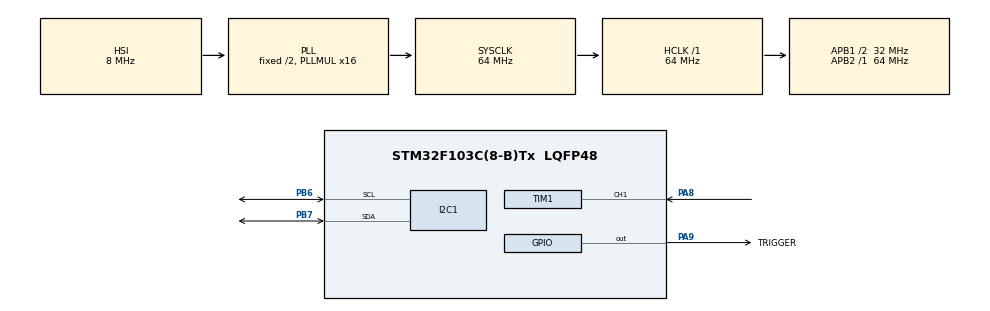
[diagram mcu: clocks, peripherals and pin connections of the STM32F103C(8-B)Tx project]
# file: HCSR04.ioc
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Mcu.Family=STM32F1
Mcu.Name=STM32F103C(8-B)Tx
Mcu.Package=LQFP48
NVIC.PriorityGroup=NVIC_PRIORITYGROUP_4
NVIC.TIM1_CC_IRQn=true\:0\:0\:false\:false\:true\:true\:true\:true
PA13.Mode=Serial_Wire
PA13.Signal=SYS_JTMS-SWDIO
PA14.Mode=Serial_Wire
PA14.Signal=SYS_JTCK-SWCLK
PA8.Signal=S_TIM1_CH1
PA9.GPIO_Label=TRIGGER
PA9.Signal=GPIO_Output
PB6.Mode=I2C
PB6.Signal=I2C1_SCL
PB7.Mode=I2C
PB7.Signal=I2C1_SDA
ProjectManager.HeapSize=0x200
ProjectManager.StackSize=0x400
ProjectManager.TargetToolchain=MDK-ARM V5.32
RCC.AHBFreq_Value=64000000
RCC.APB1CLKDivider=RCC_HCLK_DIV2
RCC.APB1Freq_Value=32000000
RCC.APB1TimFreq_Value=64000000
RCC.APB2Freq_Value=64000000
RCC.APB2TimFreq_Value=64000000
RCC.HCLKFreq_Value=64000000
RCC.PLLMUL=RCC_PLL_MUL16
RCC.SYSCLKFreq_VALUE=64000000
RCC.SYSCLKSource=RCC_SYSCLKSOURCE_PLLCLK
RCC.USBFreq_Value=64000000
SH.S_TIM1_CH1.0=TIM1_CH1,Input_Capture1_from_TI1
TIM1.Channel-Input_Capture1_from_TI1=TIM_CHANNEL_1
TIM1.Prescaler=63
VP_TIM1_VS_ClockSourceINT.Mode=Internal
board=custom

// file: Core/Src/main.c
/* USER CODE BEGIN Header */
/**
  ******************************************************************************
  * @file           : main.c
  * @brief          : Main program body
  ******************************************************************************
  * @attention
  *
  * Copyright (c) 2022 STMicroelectronics.
  * All rights reserved.
  *
  * This software is licensed under terms that can be found in the LICENSE file
  * in the root directory of this software component.
  * If no LICENSE file comes with this software, it is provided AS-IS.
  *
  ******************************************************************************
  */
/* USER CODE END Header */
#include "main.h"

/* USER CODE BEGIN Includes */
#include "i2c-lcd.h"
/* USER CODE END Includes */

 I2C_HandleTypeDef hi2c1;

TIM_HandleTypeDef htim1;

void SystemClock_Config(void);
static void MX_GPIO_Init(void);
static void MX_TIM1_Init(void);
static void MX_I2C1_Init(void);

/* USER CODE BEGIN 0 */
uint32_t IC_val1 = 0;
uint32_t IC_val2 = 0;
uint32_t diff = 0;
uint8_t distance = 0;
uint8_t is_first_cap = 0;

void delay_us(uint16_t time)
{
	__HAL_TIM_SET_COUNTER(&htim1, 0);
	while(__HAL_TIM_GET_COUNTER(&htim1) < time);
}

void HCSR04_trig()
	{
		HAL_GPIO_WritePin(TRIGGER_GPIO_Port,TRIGGER_Pin,GPIO_PIN_SET);
		delay_us(10);
		HAL_GPIO_WritePin(TRIGGER_GPIO_Port,TRIGGER_Pin,GPIO_PIN_RESET);
		__HAL_TIM_ENABLE_IT(&htim1,TIM_IT_CC1);
	}

void HAL_TIM_IC_CaptureCallback(TIM_HandleTypeDef *htim)
{
	if(htim -> Channel == HAL_TIM_ACTIVE_CHANNEL_1)
	{
		if(is_first_cap == 0)
		{
			IC_val1 = HAL_TIM_ReadCapturedValue(htim, TIM_CHANNEL_1);
			is_first_cap = 1;
		  __HAL_TIM_SET_CAPTUREPOLARITY(htim, TIM_CHANNEL_1, TIM_INPUTCHANNELPOLARITY_FALLING);
		}
		else if(is_first_cap == 1)
		{
			IC_val2 = HAL_TIM_ReadCapturedValue(htim,TIM_CHANNEL_1);
			__HAL_TIM_SET_COUNTER(htim, 0);
			if(IC_val2 > IC_val1)
			{
				diff = IC_val2 - IC_val1;
			}
			else if(IC_val2 < IC_val1)
			{
				diff = (0xffff + IC_val2) + IC_val1;
			}
			distance = 0.017*diff;
			is_first_cap = 0;
			__HAL_TIM_SET_CAPTUREPOLARITY(htim, TIM_CHANNEL_1, TIM_INPUTCHANNELPOLARITY_RISING);
			__HAL_TIM_DISABLE_IT(&htim1, TIM_IT_CC1);
		}
	}
}
/* USER CODE END 0 */

int main(void)
{

  /* MCU Configuration--------------------------------------------------------*/

  /* Reset of all peripherals, Initializes the Flash interface and the Systick. */
  HAL_Init();

  /* Configure the system clock */
  SystemClock_Config();

  /* Initialize all configured peripherals */
  MX_GPIO_Init();
  MX_TIM1_Init();
  MX_I2C1_Init();
  /* USER CODE BEGIN 2 */
	HAL_TIM_IC_Start_IT(&htim1, TIM_CHANNEL_1);
	lcd_init();
  /* USER CODE END 2 */

  /* Infinite loop */
  while (1)
  {
		HCSR04_trig();
		lcd_put_cur(0,0);
		lcd_send_string("Dist =  ");
		lcd_put_cur(0,7);
		lcd_send_data((distance/10) + 48);
		lcd_send_data((distance%10) +48);
		lcd_send_string("cm");
		HAL_Delay(200);
  }
}

void SystemClock_Config(void)
{
  RCC_OscInitTypeDef RCC_OscInitStruct = {0};
  RCC_ClkInitTypeDef RCC_ClkInitStruct = {0};

  /** Initializes the RCC Oscillators according to the specified parameters
  * in the RCC_OscInitTypeDef structure.
  */
  RCC_OscInitStruct.OscillatorType = RCC_OSCILLATORTYPE_HSI;
  RCC_OscInitStruct.HSIState = RCC_HSI_ON;
  RCC_OscInitStruct.HSICalibrationValue = RCC_HSICALIBRATION_DEFAULT;
  RCC_OscInitStruct.PLL.PLLState = RCC_PLL_ON;
  RCC_OscInitStruct.PLL.PLLSource = RCC_PLLSOURCE_HSI_DIV2;
  RCC_OscInitStruct.PLL.PLLMUL = RCC_PLL_MUL16;
  if (HAL_RCC_OscConfig(&RCC_OscInitStruct) != HAL_OK)
  {
    Error_Handler();
  }

  /** Initializes the CPU, AHB and APB buses clocks
  */
  RCC_ClkInitStruct.ClockType = RCC_CLOCKTYPE_HCLK|RCC_CLOCKTYPE_SYSCLK
                              |RCC_CLOCKTYPE_PCLK1|RCC_CLOCKTYPE_PCLK2;
  RCC_ClkInitStruct.SYSCLKSource = RCC_SYSCLKSOURCE_PLLCLK;
  RCC_ClkInitStruct.AHBCLKDivider = RCC_SYSCLK_DIV1;
  RCC_ClkInitStruct.APB1CLKDivider = RCC_HCLK_DIV2;
  RCC_ClkInitStruct.APB2CLKDivider = RCC_HCLK_DIV1;

  if (HAL_RCC_ClockConfig(&RCC_ClkInitStruct, FLASH_LATENCY_2) != HAL_OK)
  {
    Error_Handler();
  }
}

static void MX_I2C1_Init(void)
{

  hi2c1.Instance = I2C1;
  hi2c1.Init.ClockSpeed = 100000;
  hi2c1.Init.DutyCycle = I2C_DUTYCYCLE_2;
  hi2c1.Init.OwnAddress1 = 0;
  hi2c1.Init.AddressingMode = I2C_ADDRESSINGMODE_7BIT;
  hi2c1.Init.DualAddressMode = I2C_DUALADDRESS_DISABLE;
  hi2c1.Init.OwnAddress2 = 0;
  hi2c1.Init.GeneralCallMode = I2C_GENERALCALL_DISABLE;
  hi2c1.Init.NoStretchMode = I2C_NOSTRETCH_DISABLE;
  if (HAL_I2C_Init(&hi2c1) != HAL_OK)
  {
    Error_Handler();
  }

}

static void MX_TIM1_Init(void)
{

  TIM_ClockConfigTypeDef sClockSourceConfig = {0};
  TIM_MasterConfigTypeDef sMasterConfig = {0};
  TIM_IC_InitTypeDef sConfigIC = {0};

  htim1.Instance = TIM1;
  htim1.Init.Prescaler = 63;
  htim1.Init.CounterMode = TIM_COUNTERMODE_UP;
  htim1.Init.Period = 65535;
  htim1.Init.ClockDivision = TIM_CLOCKDIVISION_DIV1;
  htim1.Init.RepetitionCounter = 0;
  htim1.Init.AutoReloadPreload = TIM_AUTORELOAD_PRELOAD_DISABLE;
  if (HAL_TIM_Base_Init(&htim1) != HAL_OK)
  {
    Error_Handler();
  }
  sClockSourceConfig.ClockSource = TIM_CLOCKSOURCE_INTERNAL;
  if (HAL_TIM_ConfigClockSource(&htim1, &sClockSourceConfig) != HAL_OK)
  {
    Error_Handler();
  }
  if (HAL_TIM_IC_Init(&htim1) != HAL_OK)
  {
    Error_Handler();
  }
  sMasterConfig.MasterOutputTrigger = TIM_TRGO_RESET;
  sMasterConfig.MasterSlaveMode = TIM_MASTERSLAVEMODE_DISABLE;
  if (HAL_TIMEx_MasterConfigSynchronization(&htim1, &sMasterConfig) != HAL_OK)
  {
    Error_Handler();
  }
  sConfigIC.ICPolarity = TIM_INPUTCHANNELPOLARITY_RISING;
  sConfigIC.ICSelection = TIM_ICSELECTION_DIRECTTI;
  sConfigIC.ICPrescaler = TIM_ICPSC_DIV1;
  sConfigIC.ICFilter = 0;
  if (HAL_TIM_IC_ConfigChannel(&htim1, &sConfigIC, TIM_CHANNEL_1) != HAL_OK)
  {
    Error_Handler();
  }

}

static void MX_GPIO_Init(void)
{
  GPIO_InitTypeDef GPIO_InitStruct = {0};

  /* GPIO Ports Clock Enable */
  __HAL_RCC_GPIOA_CLK_ENABLE();
  __HAL_RCC_GPIOB_CLK_ENABLE();

  /*Configure GPIO pin Output Level */
  HAL_GPIO_WritePin(GPIOA, GPIO_PIN_9, GPIO_PIN_RESET);

  /*Configure GPIO pin : PA9 */
  GPIO_InitStruct.Pin = GPIO_PIN_9;
  GPIO_InitStruct.Mode = GPIO_MODE_OUTPUT_PP;
  GPIO_InitStruct.Pull = GPIO_NOPULL;
  GPIO_InitStruct.Speed = GPIO_SPEED_FREQ_LOW;
  HAL_GPIO_Init(GPIOA, &GPIO_InitStruct);

}

void Error_Handler(void)
{
  __disable_irq();
  while (1)
  {
  }
}
